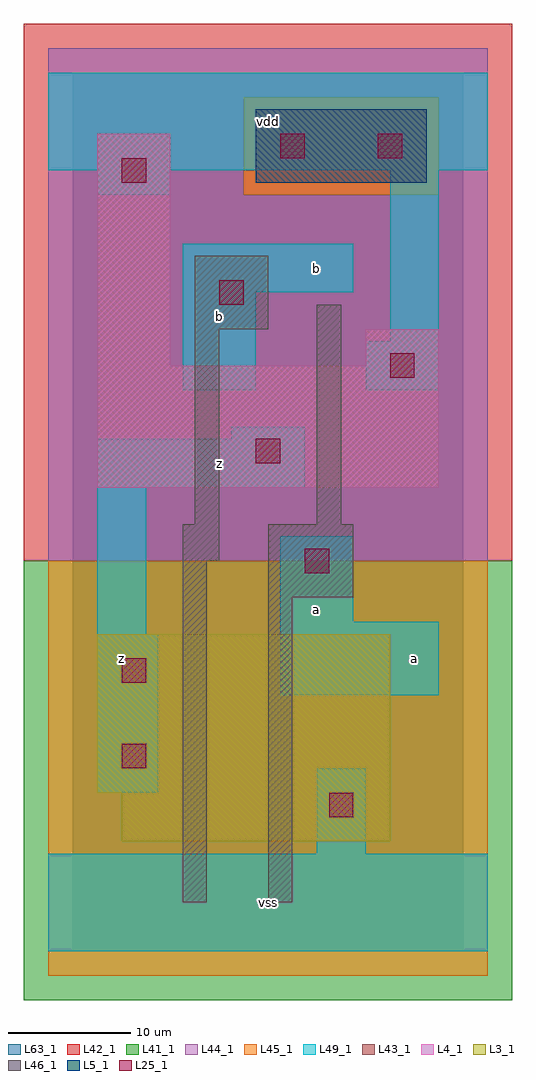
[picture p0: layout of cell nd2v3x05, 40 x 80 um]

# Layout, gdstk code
import gdstk
lib = gdstk.Library(unit=1e-6, precision=1e-09)
def R(c, l, rs):  # rectangles x0, y0, x1, y1
    for r in rs: c.add(gdstk.rectangle(r[:2], r[2:], *l))
L3_1 = (3, 1)
L4_1 = (4, 1)
L5_1 = (5, 1)
L25_1 = (25, 1)
L41_1 = (41, 1)
L42_1 = (42, 1)
L43_1 = (43, 1)
L44_1 = (44, 1)
L45_1 = (45, 1)
L46_1 = (46, 1)
L49_1 = (49, 1)
L63_1 = (63, 1)

nd2v3x05 = lib.new_cell('nd2v3x05')
R(nd2v3x05, L3_1, [(4,9,26,13), (2,13,26,26)])
R(nd2v3x05, L4_1, [(2,38,30,48), (2,48,8,67), (24,48,30,51)])
R(nd2v3x05, L5_1, [(15,63,29,69)])
R(nd2v3x05, L25_1, [(21,11,23,13), (4,15,6,17), (4,22,6,24), (19,31,21,33), (15,40,17,42), (26,47,28,49), (12,53,14,55), (4,63,6,65), (17,65,19,67), (25,65,27,67)])
R(nd2v3x05, L41_1, [(-4,-4,36,32)])
R(nd2v3x05, L42_1, [(-4,32,36,76)])
R(nd2v3x05, L43_1, [(4,9,26,13), (2,13,26,26), (2,38,30,48), (2,48,8,67), (24,48,30,51), (15,63,29,69)])
R(nd2v3x05, L44_1, [(-2,32,34,62), (-2,62,14,70), (30,62,34,70), (-2,70,34,74)])
R(nd2v3x05, L45_1, [(-2,-2,34,32), (14,62,30,70)])
R(nd2v3x05, L46_1, [(9,4,11,32), (16,4,18,29), (16,29,23,35), (9,32,12,35), (10,35,12,51), (20,35,22,53), (10,51,16,57)])
R(nd2v3x05, L49_1, [(-2,0,34,8), (20,8,24,15), (2,13,7,26), (17,21,30,27), (2,26,6,38), (17,27,23,34), (2,38,19,42), (13,42,19,43), (9,46,15,54), (24,46,30,50), (26,50,30,64), (9,54,23,58), (2,62,8,64), (-2,64,34,72)])
R(nd2v3x05, L63_1, [(0,0,32,72)])
nd2v3x05.add(gdstk.Label('z', (4,24), layer=49, texttype=1))
nd2v3x05.add(gdstk.Label('z', (12,40), layer=49, texttype=1))
nd2v3x05.add(gdstk.Label('b', (12,52), layer=49, texttype=1))
nd2v3x05.add(gdstk.Label('vss', (16,4), layer=49, texttype=1))
nd2v3x05.add(gdstk.Label('a', (20,28), layer=49, texttype=1))
nd2v3x05.add(gdstk.Label('b', (20,56), layer=49, texttype=1))
nd2v3x05.add(gdstk.Label('vdd', (16,68), layer=49, texttype=1))
nd2v3x05.add(gdstk.Label('a', (28,24), layer=49, texttype=1))

lib.write_gds('nd2v3x05.gds')
